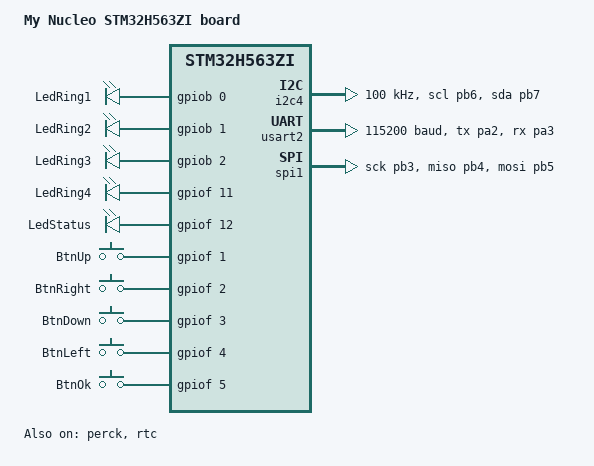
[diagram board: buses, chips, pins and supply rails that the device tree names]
/*
 * Copyright (c) 2021 Linaro Limited
 * Copyright (c) 2023 Thomas Stranger
 *
 * SPDX-License-Identifier: Apache-2.0
 */

/dts-v1/;
#include "my_nucleo_h563zi-common.dtsi"


/ {
	model = "My Nucleo STM32H563ZI board";
	compatible = "st,stm32h563zi-nucleo";

	#address-cells = <1>;
	#size-cells = <1>;

	chosen {
		zephyr,console = &usart2;
		zephyr,shell-uart = &usart2;
		zephyr,sram = &sram1;
		zephyr,flash = &flash0;
		zephyr,code-partition = &slot0_partition;
	};

	aliases {
//		led0 = &green_led_1;
//		sw0 = &user_button;
		watchdog0 = &iwdg;
//		pwm-led0 = &pwm_led_1;
//		volt-sensor0 = &vref;
//		volt-sensor1 = &vbat;
	};

        x3x: x3x {
                compatible = "gpio-leds";
                status = "disabled";
                x31_en: x31_en {
                        gpios = <&gpioe 2 GPIO_ACTIVE_HIGH>;
                        label = "x31en";
                };
                x32_en: x32_en {
                        gpios = <&gpioe 3 GPIO_ACTIVE_HIGH>;
                        label = "x32en";
                };
                x33_en: x33_en {
                        gpios = <&gpioe 4 GPIO_ACTIVE_HIGH>;
                        label = "x33en";
                };
                x34_en: x34_en {
                        gpios = <&gpioe 5 GPIO_ACTIVE_HIGH>;
                        label = "x34en";
                };
                x35_en: x35_en {
                        gpios = <&gpioe 6 GPIO_ACTIVE_HIGH>;
                        label = "x35en";
                };
        };

        leds: leds {
                compatible = "gpio-leds";
                status = "okay";
                led_ring1: led_ring1 {
                        gpios = <&gpiob 0 GPIO_ACTIVE_HIGH>;
                        label = "LedRing1";
                };
                led_ring2: led_ring2 {
                        gpios = <&gpiob 1 GPIO_ACTIVE_HIGH>;
                        label = "LedRing2";
                };
                led_ring3: led_ring3 {
                        gpios = <&gpiob 2 GPIO_ACTIVE_HIGH>;
                        label = "LedRing3";
                };
                led_ring4: led_ring4 {
                        gpios = <&gpiof 11 GPIO_ACTIVE_HIGH>;
                        label = "LedRing4";
                };
                led_status: led_status {
                        gpios = <&gpiof 12 GPIO_ACTIVE_HIGH>;
                        label = "LedStatus";
                };
        };

        buttons: buttons {
                compatible = "gpio-keys";
                status = "okay";
                button_up: button_up {
                        label = "BtnUp";
                        gpios = <&gpiof 1 GPIO_ACTIVE_HIGH>;
                        zephyr,code = <INPUT_KEY_UP>;
                };
                button_right: button_right {
                        label = "BtnRight";
                        gpios = <&gpiof 2 GPIO_ACTIVE_HIGH>;
                        zephyr,code = <INPUT_KEY_RIGHT>;
                };
                button_down: button_down {
                        label = "BtnDown";
                        gpios = <&gpiof 3 GPIO_ACTIVE_HIGH>;
                        zephyr,code = <INPUT_KEY_DOWN>;
                };
                button_left: button_left {
                        label = "BtnLeft";
                        gpios = <&gpiof 4 GPIO_ACTIVE_HIGH>;
                        zephyr,code = <INPUT_KEY_LEFT>;
		};
                button_ok: button_ok {
                        label = "BtnOk";
                        gpios = <&gpiof 5 GPIO_ACTIVE_HIGH>;
                        zephyr,code = <INPUT_KEY_ENTER>;
		};
	};

	pwmleds: pwmleds {
		compatible = "pwm-leds";
		status = "disabled";

		pwm_led_red: pwm_led_red {
			pwms = <&pwm3 1 PWM_MSEC(20) PWM_POLARITY_NORMAL>;
			label = "red";
		};
		pwm_led_green: pwm_led_green {
			pwms = <&pwm3 2 PWM_MSEC(20) PWM_POLARITY_NORMAL>;
			label = "green";
		};
		pwm_led_blue: pwm_led_blue {
			pwms = <&pwm3 3 PWM_MSEC(20) PWM_POLARITY_NORMAL>;
			label = "blue";
		};
		pwm_backlight: pwm_backlight {
			pwms = <&pwm3 4 PWM_MSEC(20) PWM_POLARITY_NORMAL>;
			label = "backlight";
		};
	};
};

&rng {
	status = "disabled";
};

&clk_csi {
	status = "okay";
};

&rcc {
	clocks = <&pll>;
	clock-frequency = <DT_FREQ_M(240)>;
	ahb-prescaler = <1>;
	apb1-prescaler = <16>;//APB1 peripheral clock = 15 MHz, APB1 Timer clock = 30 MHz
	apb2-prescaler = <16>;//APB2 peripheral clock = 15 MHz, APB2 Timer clock = 30 MHz
	apb3-prescaler = <16>;//APB3 peripheral clock = 15 MHz, APB3 Timer clock = 30 MHz
};

&pll {
	div-m = <2>;
	mul-n = <120>;
	div-p = <2>;
	div-q = <2>;
	div-r = <2>;
	clocks = <&clk_hse>;
	status = "okay";
};

&perck {
	clocks = <&rcc STM32_SRC_CSI CKPER_SEL(1)>;
	status = "okay";
};

/*
		i2c4: i2c@44002c00 {
			compatible = "st,stm32-i2c-v2";
			clock-frequency = <I2C_BITRATE_STANDARD>;
			#address-cells = <1>;
			#size-cells = <0>;
			reg = <0x44002c00 0x400>;
			clocks = <&rcc STM32_CLOCK_BUS_APB3 0x00000100>;
			interrupts = <125 0>, <126 0>;
			interrupt-names = "event", "error";
			status = "disabled";
		};
*/


/*
&lpuart1 {
	status = "disabled";
	pinctrl-0 = <&lpuart1_tx_pb6 &lpuart1_rx_pb7>;
	pinctrl-names = "default";
	current-speed = <115200>;
};
*/
&i2c4 {
	compatible = "st,stm32-i2c-v2";
	status = "okay";
	pinctrl-0 = <&i2c4_scl_pb6 &i2c4_sda_pb7>;
	pinctrl-names = "default";
	clocks = <&clk_csi STM32_SRC_CSI I2C4_SEL(3)>;
	clock-frequency = <I2C_BITRATE_STANDARD>;
/*
	scl-gpios = <&i2c4_scl_pb6>;
	sda-gpios = <&i2c4_sda_pb7>;
	#gpio-cells = < 0x2 >;
*/
};

&usart2 {
	pinctrl-0 = <&usart2_tx_pa2 &usart2_rx_pa3>;
	pinctrl-names = "default";
	current-speed = <115200>;
	clocks = <&clk_csi STM32_SRC_CSI USART2_SEL(3)>;
	status = "okay";
};

&spi1 {
	pinctrl-0 = <&spi1_sck_pb3 &spi1_miso_pb4 &spi1_mosi_pb5>;
	pinctrl-names = "default";
	cs-gpios = <&gpioe 0 (GPIO_ACTIVE_LOW | GPIO_PULL_UP)>;
	clocks = <&perck STM32_SRC_CKPER SPI1_SEL(4)>;
	status = "okay";
};

&timers3 {
	st,prescaler = <10000>;
	status = "disabled";

	pwm3: pwm {
		status = "disabled";
//		pinctrl-0 = <&tim3_ch3_pc6>;
//		pinctrl-0 = <&tim3_ch0_pc6>,
//			    <&tim3_ch1_pc7>,
//			    <&tim3_ch2_pc8>,
//			    <&tim3_ch3_pc9>;
//		pinctrl-names = "default";
//		pinctrl-names = "default", "sleep";
	};
};

&rtc {
	clocks = <&rcc STM32_CLOCK_BUS_APB3 0x00200000>,
		 <&rcc STM32_SRC_LSE RTC_SEL(1)>;
	status = "okay";
};

&dac1 {
	/* outputs only on 2 pins and pa4 is reserved for VBUS_SENSE */
	pinctrl-0 = <&dac1_out2_pa5>;  /* Zio D13 (on CN7) */
	pinctrl-names = "default";
	status = "disabled";
};

&adc1 {
	pinctrl-0 = <&adc1_inp3_pa6 &adc1_inp15_pa3>; /* Zio A0, Zio D35 */
	pinctrl-names = "default";
	st,adc-clock-source = <ASYNC>;
	st,adc-prescaler = <6>;
	status = "disabled";
};

